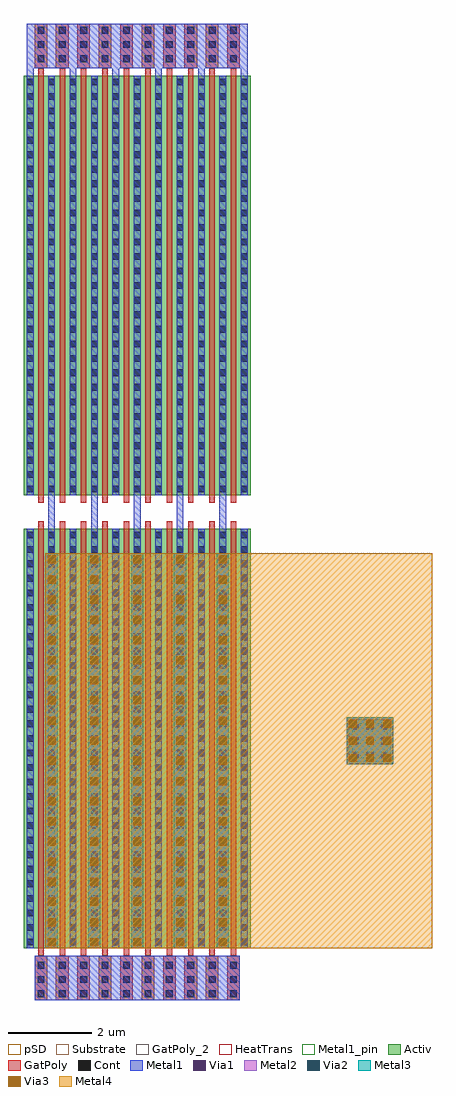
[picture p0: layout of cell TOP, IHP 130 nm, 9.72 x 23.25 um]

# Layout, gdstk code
import gdstk
lib = gdstk.Library(unit=1e-6, precision=1e-09)
def R(c, l, rs):  # rectangles x0, y0, x1, y1
    for r in rs: c.add(gdstk.rectangle(r[:2], r[2:], *l))
def A(c, l, x, y, w, h, nx, ny, dx, dy):  # array of equal rectangles
    R(c, l, [(x+i*dx, y+j*dy, x+i*dx+w, y+j*dy+h) for i in range(nx) for j in range(ny)])
Activ = (1, 0)
GatPoly = (5, 0)
GatPoly_2 = (5, 2)
Cont = (6, 0)
Metal1 = (8, 0)
Metal1_pin = (8, 2)
Metal2 = (10, 0)
pSD = (14, 0)
Via1 = (19, 0)
Via2 = (29, 0)
Metal3 = (30, 0)
Substrate = (40, 0)
Via3 = (49, 0)
Metal4 = (50, 0)
HeatTrans = (51, 0)

nmos_1 = lib.new_cell('nmos$1')
A(nmos_1, Activ, 0, 0, 0.3, 0.3, 11, 1, 0.51, 0)
R(nmos_1, Activ, [(0,0,5.4,10)])
A(nmos_1, GatPoly, 0.34, -0.18, 0.13, 10.36, 10, 1, 0.51, 0)
R(nmos_1, GatPoly_2, [(0.34,-0.18,0.47,10.18)])
A(nmos_1, Cont, 0.07, 0.07, 0.16, 0.16, 11, 4, 0.51, 0.345)
A(nmos_1, Cont, 0.07, 1.455, 0.16, 0.16, 11, 3, 0.51, 0.345)
A(nmos_1, Cont, 0.07, 2.495, 0.16, 0.16, 11, 4, 0.51, 0.345)
A(nmos_1, Cont, 0.07, 3.88, 0.16, 0.16, 11, 3, 0.51, 0.345)
A(nmos_1, Cont, 0.07, 4.92, 0.16, 0.16, 11, 4, 0.51, 0.345)
A(nmos_1, Cont, 0.07, 6.305, 0.16, 0.16, 11, 3, 0.51, 0.345)
A(nmos_1, Cont, 0.07, 7.345, 0.16, 0.16, 11, 4, 0.51, 0.345)
A(nmos_1, Cont, 0.07, 8.73, 0.16, 0.16, 11, 3, 0.51, 0.345)
A(nmos_1, Cont, 0.07, 9.77, 0.16, 0.16, 11, 1, 0.51, 0)
A(nmos_1, Metal1, 0.07, 0, 0.16, 10, 11, 1, 0.51, 0)
R(nmos_1, Metal1_pin, [(0.07,0,0.23,10), (0.58,0,0.74,10)])
A(nmos_1, HeatTrans, 0.34, -0.18, 0.13, 10.36, 10, 1, 0.51, 0)
nmos_1.add(gdstk.Label('nmos', (0.405,5), layer=63, texttype=0))
nmos_1.add(gdstk.Label('nmos', (0.405,5), layer=51, texttype=0))
nmos_1.add(gdstk.Label('nmos', (0.915,5), layer=51, texttype=0))
nmos_1.add(gdstk.Label('nmos', (1.425,5), layer=51, texttype=0))
nmos_1.add(gdstk.Label('nmos', (1.935,5), layer=51, texttype=0))
nmos_1.add(gdstk.Label('nmos', (2.445,5), layer=51, texttype=0))
nmos_1.add(gdstk.Label('nmos', (2.955,5), layer=51, texttype=0))
nmos_1.add(gdstk.Label('nmos', (3.465,5), layer=51, texttype=0))
nmos_1.add(gdstk.Label('nmos', (3.975,5), layer=51, texttype=0))
nmos_1.add(gdstk.Label('nmos', (4.485,5), layer=51, texttype=0))
nmos_1.add(gdstk.Label('nmos', (4.995,5), layer=51, texttype=0))

ptap1 = lib.new_cell('ptap1')
R(ptap1, Activ, [(0,0,1,1)])
A(ptap1, Cont, 0.08, 0.08, 0.16, 0.16, 3, 3, 0.34, 0.34)
R(ptap1, Metal1, [(0.08,0.03,0.92,0.97), (0.08,0.08,0.92,0.92)])
R(ptap1, Metal1_pin, [(0.08,0.08,0.92,0.92)])
R(ptap1, pSD, [(-0.03,-0.03,1.03,1.03)])
R(ptap1, Substrate, [(0,0,1,1)])
ptap1.add(gdstk.Label('sub!', (0.5,0.01), layer=63, texttype=0))
ptap1.add(gdstk.Label('sub!', (0.5,0.01), layer=40, texttype=0))

via_stack_1 = lib.new_cell('via_stack$1')
R(via_stack_1, Metal1, [(-0.145,-4.705,0.145,4.705)])
R(via_stack_1, Metal2, [(-0.145,-4.705,0.145,4.705)])
A(via_stack_1, Via1, -0.095, -4.655, 0.19, 0.19, 1, 20, 0, 0.48)
A(via_stack_1, Via2, -0.095, -4.655, 0.19, 0.19, 1, 20, 0, 0.48)
R(via_stack_1, Metal3, [(-0.145,-4.705,0.145,4.705)])
A(via_stack_1, Via3, -0.095, -4.655, 0.19, 0.19, 1, 20, 0, 0.48)
R(via_stack_1, Metal4, [(-0.145,-4.705,0.145,4.705)])

via_stack = lib.new_cell('via_stack')
R(via_stack, Metal1, [(-0.555,-0.555,0.555,0.555)])
R(via_stack, Metal2, [(-0.555,-0.555,0.555,0.555)])
A(via_stack, Via1, -0.505, -0.505, 0.19, 0.19, 3, 3, 0.41, 0.41)
A(via_stack, Via2, -0.505, -0.505, 0.19, 0.19, 3, 3, 0.41, 0.41)
R(via_stack, Metal3, [(-0.555,-0.555,0.555,0.555)])
A(via_stack, Via3, -0.505, -0.505, 0.19, 0.19, 3, 3, 0.41, 0.41)
R(via_stack, Metal4, [(-0.555,-0.555,0.555,0.555)])

top = lib.new_cell('TOP')
A(top, GatPoly, -6.845, -11.5, 0.3, 1.05, 10, 2, 0.51, 22.2)
A(top, Cont, -6.775, -11.43, 0.16, 0.16, 10, 3, 0.51, 0.34)
A(top, Cont, -6.775, 10.84, 0.16, 0.16, 10, 3, 0.51, 0.34)
A(top, Metal1, -6.52, -0.285, 0.16, 0.805, 5, 2, 1.02, 0.015)
A(top, Metal1, -6.01, 10.52, 0.16, 0.18, 4, 1, 1.02, 0)
R(top, Metal1, [(-6.845,-11.5,-1.955,-10.45), (-7.03,10.52,-6.87,11.75), (-1.93,10.52,-1.77,11.75), (-6.87,10.7,-1.93,11.75)])
R(top, Metal4, [(-6.585,-10.27,2.625,-0.86)])
top.add(gdstk.Reference(nmos_1, (-7.1,0.52)))
top.add(gdstk.Reference(ptap1, (0.64,-5.825)))
top.add(gdstk.Reference(nmos_1, (-7.1,-0.27), x_reflection=True))
top.add(gdstk.Reference(via_stack_1, (-6.44,-5.565)))
top.add(gdstk.Reference(via_stack_1, (-5.42,-5.565)))
top.add(gdstk.Reference(via_stack_1, (-4.4,-5.565)))
top.add(gdstk.Reference(via_stack_1, (-3.38,-5.565)))
top.add(gdstk.Reference(via_stack_1, (-2.36,-5.565)))
top.add(gdstk.Reference(via_stack, (1.145,-5.325)))

lib.write_gds('TOP.gds')
